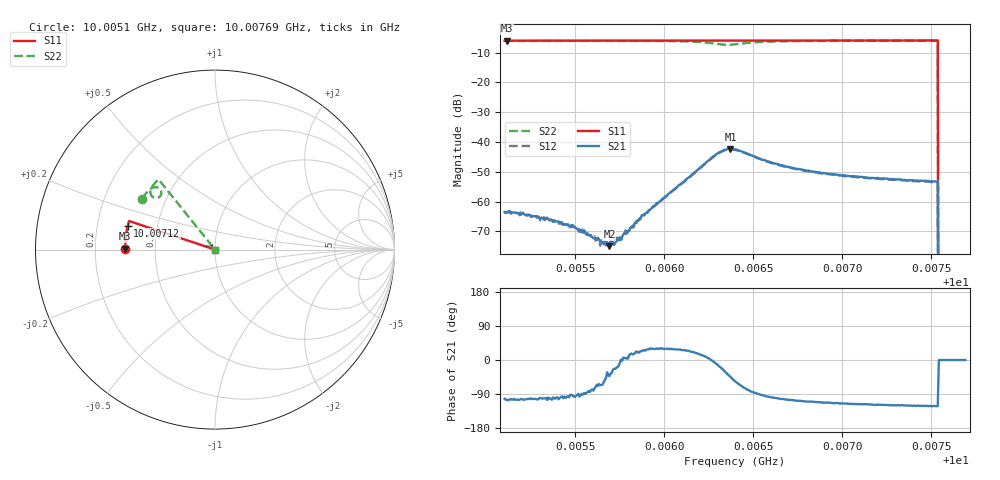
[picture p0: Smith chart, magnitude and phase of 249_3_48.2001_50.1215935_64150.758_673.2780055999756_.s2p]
#  HZ  S  RI  R  50.00
! Rohde & Schwarz Vector Network Analyzer
! Rohde-Schwarz,ZNB20-2Port,1311601062101988,3.16
! Created: UTC 3/20/2024, 11:47:11 AM
! freq[Hz]  re:S11  im:S11  re:S21  im:S21  re:S12  im:S12  re:S22  im:S22
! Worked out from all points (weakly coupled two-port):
!   401 points, 10.0051 GHz to 10.00769 GHz, reference 50 ohm
!   highest |S21| = -42.32 dB at 10.00637 GHz (marker M1); lowest = -75.0 dB at 10.00569 GHz (marker M2)
!   lowest |S11| = -6.0 dB at 10.00512 GHz (marker M3), VSWR 3.00, Z = 16.7 + j0.232 ohm
!   |S11| at or under -10 dB: 10.00754 GHz to end of sweep
!   |S22| runs from - to -6.0 dB; largest |S21 - S12| = 0.00047
!   S11 on the Smith chart (normalised r, x): 10.0051 GHz: 0.33, +0.00; 10.00712 GHz: 0.34, +0.12; 10.00769 GHz: 1.00, +0.00
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1.0005103e10  -0.4999 0.00436  -0.000142 -0.000651  -0.000117 -0.000642  -0.4055 0.2839
1.0005116e10  -0.4998 0.00521  -0.000171 -0.000647  -0.00015 -0.00065  -0.405 0.2848
1.0005317e10  -0.5 0.0184  -0.000105 -0.000503  -8.27e-05 -0.000482  -0.3971 0.2967
1.0005336e10  -0.5 0.0196  -9.17e-05 -0.000514  -4.41e-05 -0.000527  -0.3962 0.2978
1.0005491e10  -0.4998 0.0296  -4.24e-05 -0.000385  -2.03e-05 -0.000377  -0.3895 0.3072
1.0005537e10  -0.4996 0.0327  5.9e-06 -0.00031  1.86e-05 -0.000338  -0.3875 0.3099
1.0005647e10  -0.4994 0.0396  9.09e-05 -0.000203  0.000115 -0.000185  -0.3821 0.3166
1.0005692e10  -0.4992 0.0426  0.000131 -0.000121  0.000159 -0.000103  -0.3798 0.3195
1.000575e10  -0.4991 0.0464  0.000245 -3.49e-05  0.000252 8.61e-06  -0.3765 0.3233
1.0005886e10  -0.4983 0.0552  0.000552 0.000265  0.000511 0.000266  -0.3675 0.3321
1.000597e10  -0.4979 0.0606  0.000846 0.000476  0.000832 0.000543  -0.3606 0.3378
1.0006287e10  -0.4951 0.0811  0.00599 -0.00085  0.00592 -0.000528  -0.3019 0.3289
1.0006333e10  -0.4945 0.0836  0.00648 -0.00323  0.0065 -0.00291  -0.3007 0.307
1.0006371e10  -0.4943 0.086  0.00543 -0.0054  0.00559 -0.00499  -0.3136 0.291
1.0006397e10  -0.4941 0.0874  0.0042 -0.00622  0.00444 -0.00588  -0.3261 0.287
1.000663e10  -0.4923 0.1024  -0.000784 -0.00422  -0.000571 -0.00413  -0.3591 0.3287
1.0006831e10  -0.4899 0.1152  -0.00108 -0.00297  -0.000982 -0.00297  -0.3505 0.3499
1.0007116e10  -0.486 0.1332  -0.00114 -0.00231  -0.00102 -0.0023  -0.3359 0.3694
1.0007264e10  -0.4837 0.1424  -0.00117 -0.00209  -0.00104 -0.00207  -0.3284 0.3777
1.0007523e10  -0.4792 0.1586  -0.00114 -0.00184  -0.00103 -0.00186  -0.3154 0.3907
1.0007556e10  0 0  0 0  0 0  0 0
1.0007692e10  0 0  0 0  0 0  0 0
